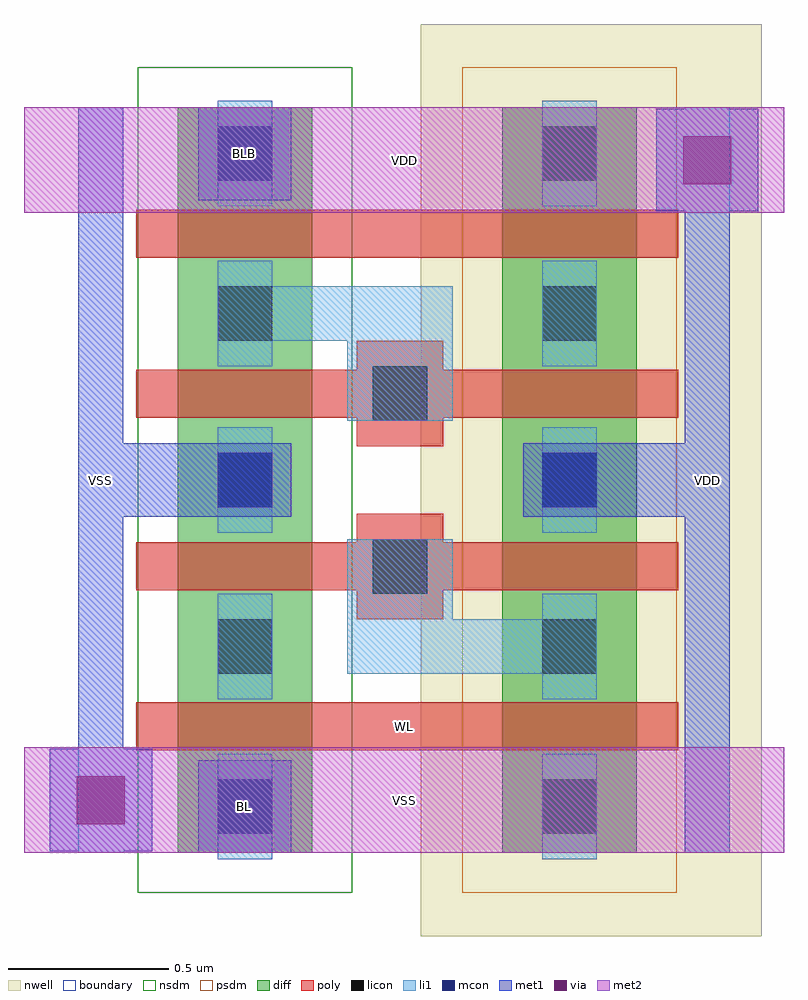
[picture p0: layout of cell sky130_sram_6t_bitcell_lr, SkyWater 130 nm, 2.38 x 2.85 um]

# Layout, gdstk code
import gdstk
lib = gdstk.Library(unit=1e-6, precision=5e-09)
def R(c, l, rs):  # rectangles x0, y0, x1, y1
    for r in rs: c.add(gdstk.rectangle(r[:2], r[2:], *l))
def A(c, l, x, y, w, h, nx, ny, dx, dy):  # array of equal rectangles
    R(c, l, [(x+i*dx, y+j*dy, x+i*dx+w, y+j*dy+h) for i in range(nx) for j in range(ny)])
nwell = (64, 20)
diff = (65, 20)
poly = (66, 20)
licon = (66, 44)
li1 = (67, 20)
mcon = (67, 44)
met1 = (68, 20)
via = (68, 44)
met2 = (69, 20)
nsdm = (93, 44)
psdm = (94, 20)
boundary = (235, 4)

sky130_sram_6t_bitcell_l = lib.new_cell('sky130_sram_6t_bitcell_lr')
R(sky130_sram_6t_bitcell_l, nwell, [(1.07,-0.26,2.135,2.59)])
R(sky130_sram_6t_bitcell_l, diff, [(0.31,0,0.73,2.33), (1.325,0,1.745,2.33)])
R(sky130_sram_6t_bitcell_l, poly, [(0.18,0.32,1.875,0.47), (0.87,0.73,1.14,1.06), (0.18,0.82,1.875,0.97), (0.87,1.27,1.14,1.6), (0.18,1.36,1.875,1.51), (0.18,1.86,1.875,2.01)])
A(sky130_sram_6t_bitcell_l, licon, 0.435, 0.56, 0.17, 0.17, 1, 3, 0, 0.52)
A(sky130_sram_6t_bitcell_l, licon, 1.45, 0.56, 0.17, 0.17, 1, 3, 0, 0.52)
R(sky130_sram_6t_bitcell_l, licon, [(0.435,0.06,0.605,0.23), (1.45,0.06,1.62,0.23), (0.92,0.81,1.09,0.98), (0.92,1.35,1.09,1.52), (0.435,2.1,0.605,2.27), (1.45,2.1,1.62,2.27)])
A(sky130_sram_6t_bitcell_l, li1, 0.435, 0.48, 0.17, 0.33, 1, 3, 0, 0.52)
A(sky130_sram_6t_bitcell_l, li1, 1.45, 0.48, 0.17, 0.33, 1, 3, 0, 0.52)
R(sky130_sram_6t_bitcell_l, li1, [(0.435,-0.02,0.605,0.31), (1.45,-0.02,1.62,0.31), (0.84,0.56,1.62,0.73), (0.84,0.56,1.17,0.98), (0.84,0.81,1.17,0.98), (0.84,1.35,1.17,1.52), (0.84,1.35,1.17,1.77), (0.435,1.6,1.17,1.77), (0.435,2.02,0.605,2.35), (1.45,2.02,1.62,2.35)])
A(sky130_sram_6t_bitcell_l, mcon, 0.435, 0.06, 0.17, 0.17, 1, 3, 0, 1.02)
R(sky130_sram_6t_bitcell_l, mcon, [(1.45,1.08,1.62,1.25)])
R(sky130_sram_6t_bitcell_l, met1, [(0,0,0.14,2.33), (0.375,0,0.665,0.29), (1.895,0,2.035,2.33), (-0.09,0.005,0.23,0.325), (0,1.05,0.665,1.28), (1.39,1.05,2.035,1.28), (1.805,2.005,2.125,2.325), (0.375,2.04,0.665,2.33)])
R(sky130_sram_6t_bitcell_l, via, [(-0.005,0.09,0.145,0.24), (1.89,2.09,2.04,2.24)])
R(sky130_sram_6t_bitcell_l, met2, [(-0.17,0,2.205,0.33), (-0.17,2,2.205,2.33)])
R(sky130_sram_6t_bitcell_l, nsdm, [(0.185,-0.125,0.855,2.455)])
R(sky130_sram_6t_bitcell_l, psdm, [(1.2,-0.125,1.87,2.455)])
R(sky130_sram_6t_bitcell_l, boundary, [(0,0,2.035,2.33)])
sky130_sram_6t_bitcell_l.add(gdstk.Label('VSS', (1.02,0.165), layer=69, texttype=5))
sky130_sram_6t_bitcell_l.add(gdstk.Label('VDD', (1.02,2.165), layer=69, texttype=5))
sky130_sram_6t_bitcell_l.add(gdstk.Label('VSS', (0.07,1.165), layer=68, texttype=5))
sky130_sram_6t_bitcell_l.add(gdstk.Label('VDD', (1.965,1.165), layer=68, texttype=5))
sky130_sram_6t_bitcell_l.add(gdstk.Label('BL', (0.52,0.145), layer=68, texttype=5))
sky130_sram_6t_bitcell_l.add(gdstk.Label('BLB', (0.52,2.185), layer=68, texttype=5))
sky130_sram_6t_bitcell_l.add(gdstk.Label('WL', (1.02,0.395), layer=66, texttype=5))

lib.write_gds('sky130_sram_6t_bitcell_lr.gds')
